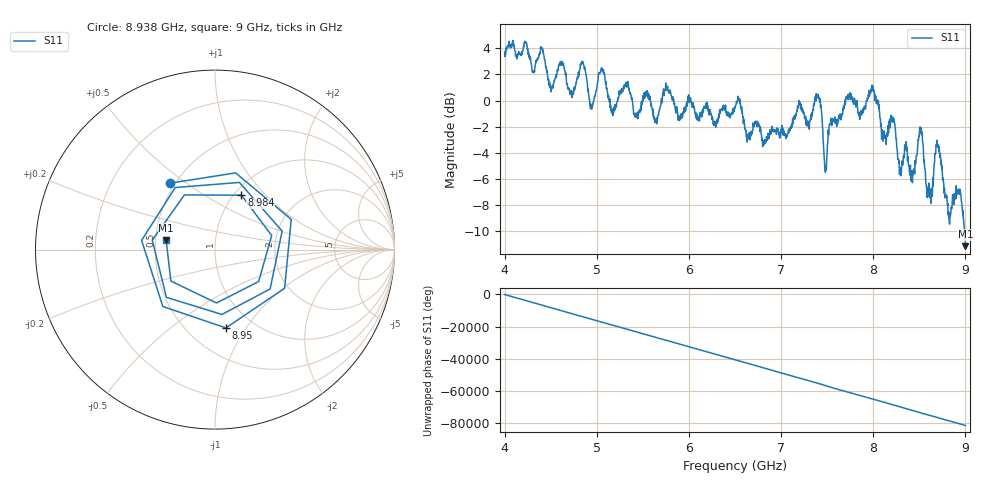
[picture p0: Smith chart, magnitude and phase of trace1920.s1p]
! Created with skrf 1.8.0 (http://scikit-rf.org).
# Hz S RI R 50.0
!freq ReS11 ImS11
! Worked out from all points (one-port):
!   1601 points, 4 GHz to 9 GHz, reference 50 ohm
!   lowest |S11| = -11.1 dB at 9 GHz (marker M1), VSWR 1.77, Z = 28.5 + j3.28 ohm
!   |S11| at or under -10 dB: 8.989138 GHz to end of sweep
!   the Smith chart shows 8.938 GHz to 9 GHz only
!   S11 on the Smith chart (normalised r, x): 8.938 GHz: 0.47, +0.43; 8.95 GHz: 0.75, -0.81; 8.984 GHz: 1.08, +0.74; 9 GHz: 0.57, +0.07
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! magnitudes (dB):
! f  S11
! 4 GHz  3.6
! 4.625 GHz  3.0
! 4.728 GHz  0.5
! 4.853 GHz  2.9
! 4.944 GHz  -0.7
! 5.047 GHz  2.5
! 5.169 GHz  -0.8
! 5.25 GHz  0.5
! 5.875 GHz  -0.9
! 6.5 GHz  -0.5
! 6.812 GHz  -3.4
! 7.125 GHz  -1.4
! 7.4 GHz  0.4
! 7.484 GHz  -5.0
! 7.75 GHz  0.2
! 8.003 GHz  0.9
! 8.116 GHz  -2.7
! 8.212 GHz  -1.3
! 8.284 GHz  -5.6
! 8.375 GHz  -4.3
! 8.512 GHz  -2.3
! 8.606 GHz  -7.4
! 8.697 GHz  -3.5
! 8.828 GHz  -9.4
! 8.938 GHz  -7.0
! 8.95 GHz  -7.1
! 8.984 GHz  -9.4
! 9 GHz  -11.1
